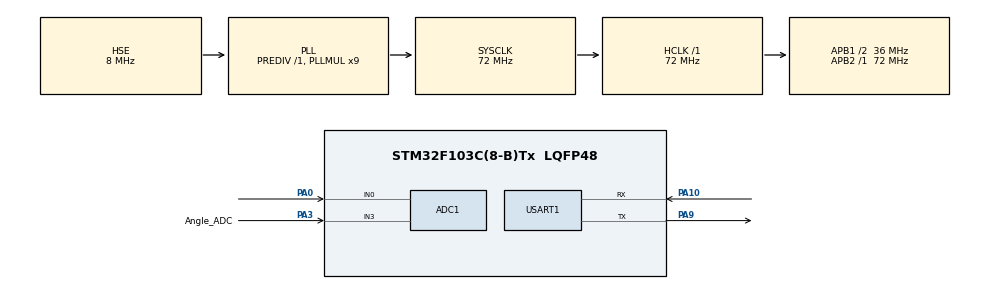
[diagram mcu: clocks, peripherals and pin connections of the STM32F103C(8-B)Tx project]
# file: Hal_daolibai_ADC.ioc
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ADC1.Channel-0\#ChannelRegularConversion=ADC_CHANNEL_0
ADC1.Channel-1\#ChannelRegularConversion=ADC_CHANNEL_3
ADC1.ContinuousConvMode=ENABLE
ADC1.DataAlign=ADC_DATAALIGN_RIGHT
ADC1.DiscontinuousConvMode=DISABLE
ADC1.EnableAnalogWatchDog=false
ADC1.EnableRegularConversion=ENABLE
ADC1.ExternalTrigConv=ADC_SOFTWARE_START
ADC1.InjNumberOfConversion=0
ADC1.NbrOfConversion=2
ADC1.NbrOfConversionFlag=1
ADC1.Rank-0\#ChannelRegularConversion=1
ADC1.Rank-1\#ChannelRegularConversion=2
ADC1.SamplingTime-0\#ChannelRegularConversion=ADC_SAMPLETIME_55CYCLES_5
ADC1.SamplingTime-1\#ChannelRegularConversion=ADC_SAMPLETIME_55CYCLES_5
ADC1.ScanConvMode=ADC_SCAN_ENABLE
ADC1.master=1
Dma.ADC1.0.Direction=DMA_PERIPH_TO_MEMORY
Dma.ADC1.0.Instance=DMA1_Channel1
Dma.ADC1.0.MemDataAlignment=DMA_MDATAALIGN_HALFWORD
Dma.ADC1.0.MemInc=DMA_MINC_ENABLE
Dma.ADC1.0.Mode=DMA_CIRCULAR
Dma.ADC1.0.PeriphDataAlignment=DMA_PDATAALIGN_HALFWORD
Dma.ADC1.0.PeriphInc=DMA_PINC_DISABLE
Dma.ADC1.0.Priority=DMA_PRIORITY_MEDIUM
Dma.Request0=ADC1
Mcu.Family=STM32F1
Mcu.Name=STM32F103C(8-B)Tx
Mcu.Package=LQFP48
NVIC.ADC1_2_IRQn=true\:2\:0\:true\:false\:true\:true
NVIC.DMA1_Channel1_IRQn=true\:0\:0\:false\:false\:true\:false
NVIC.PriorityGroup=NVIC_PRIORITYGROUP_4
NVIC.TIM1_UP_IRQn=true\:0\:0\:false\:false\:true\:true
PA0-WKUP.Signal=ADCx_IN0
PA10.Mode=Asynchronous
PA10.Signal=USART1_RX
PA13.Mode=Serial_Wire
PA13.Signal=SYS_JTMS-SWDIO
PA14.Mode=Serial_Wire
PA14.Signal=SYS_JTCK-SWCLK
PA3.GPIO_Label=Angle_ADC
PA3.Signal=ADCx_IN3
PA9.Mode=Asynchronous
PA9.Signal=USART1_TX
PD0-OSC_IN.Mode=HSE-External-Oscillator
PD0-OSC_IN.Signal=RCC_OSC_IN
PD1-OSC_OUT.Mode=HSE-External-Oscillator
PD1-OSC_OUT.Signal=RCC_OSC_OUT
ProjectManager.HeapSize=0x200
ProjectManager.StackSize=0x400
ProjectManager.TargetToolchain=MDK-ARM V5
RCC.ADCPresc=RCC_ADCPCLK2_DIV6
RCC.AHBFreq_Value=72000000
RCC.APB1CLKDivider=RCC_HCLK_DIV2
RCC.APB1Freq_Value=36000000
RCC.APB1TimFreq_Value=72000000
RCC.APB2Freq_Value=72000000
RCC.APB2TimFreq_Value=72000000
RCC.HCLKFreq_Value=72000000
RCC.PLLMUL=RCC_PLL_MUL9
RCC.PLLSourceVirtual=RCC_PLLSOURCE_HSE
RCC.SYSCLKFreq_VALUE=72000000
RCC.SYSCLKSource=RCC_SYSCLKSOURCE_PLLCLK
RCC.USBFreq_Value=72000000
SH.ADCx_IN0.0=ADC1_IN0,IN0
SH.ADCx_IN3.0=ADC1_IN3,IN3
TIM1.Period=5000
TIM1.Prescaler=71
USART1.VirtualMode=VM_ASYNC
VP_TIM1_VS_ClockSourceINT.Mode=Internal
board=custom

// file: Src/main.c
/**
  ******************************************************************************
  * @file           : main.c
  * @brief          : Main program body
  ******************************************************************************
  ** This notice applies to any and all portions of this file
  * that are not between comment pairs USER CODE BEGIN and
  * USER CODE END. Other portions of this file, whether
  * inserted by the user or by software development tools
  * are owned by their respective copyright owners.
  *
  * COPYRIGHT(c) 2019 STMicroelectronics
  *
  * Redistribution and use in source and binary forms, with or without modification,
  * are permitted provided that the following conditions are met:
  *   1. Redistributions of source code must retain the above copyright notice,
  *      this list of conditions and the following disclaimer.
  *   2. Redistributions in binary form must reproduce the above copyright notice,
  *      this list of conditions and the following disclaimer in the documentation
  *      and/or other materials provided with the distribution.
  *   3. Neither the name of STMicroelectronics nor the names of its contributors
  *      may be used to endorse or promote products derived from this software
  *      without specific prior written permission.
  *
  * THIS SOFTWARE IS PROVIDED BY THE COPYRIGHT HOLDERS AND CONTRIBUTORS "AS IS"
  * AND ANY EXPRESS OR IMPLIED WARRANTIES, INCLUDING, BUT NOT LIMITED TO, THE
  * IMPLIED WARRANTIES OF MERCHANTABILITY AND FITNESS FOR A PARTICULAR PURPOSE ARE
  * DISCLAIMED. IN NO EVENT SHALL THE COPYRIGHT HOLDER OR CONTRIBUTORS BE LIABLE
  * FOR ANY DIRECT, INDIRECT, INCIDENTAL, SPECIAL, EXEMPLARY, OR CONSEQUENTIAL
  * DAMAGES (INCLUDING, BUT NOT LIMITED TO, PROCUREMENT OF SUBSTITUTE GOODS OR
  * SERVICES; LOSS OF USE, DATA, OR PROFITS; OR BUSINESS INTERRUPTION) HOWEVER
  * CAUSED AND ON ANY THEORY OF LIABILITY, WHETHER IN CONTRACT, STRICT LIABILITY,
  * OR TORT (INCLUDING NEGLIGENCE OR OTHERWISE) ARISING IN ANY WAY OUT OF THE USE
  * OF THIS SOFTWARE, EVEN IF ADVISED OF THE POSSIBILITY OF SUCH DAMAGE.
  *
  ******************************************************************************
  */
#include "main.h"
#include "stm32f1xx_hal.h"
#include "adc.h"
#include "dma.h"
#include "tim.h"
#include "usart.h"
#include "gpio.h"

/* USER CODE BEGIN Includes */

#include "stdio.h"
#ifdef __GNUC__
#define PUTCHAR_PROTOTYPE int __io_putchar(int ch)
#else
#define PUTCHAR_PROTOTYPE int fputc(int ch, FILE *f)
#endif /* __GNUC__ */
PUTCHAR_PROTOTYPE
{
	HAL_UART_Transmit(&huart1 , (uint8_t *)&ch, 1, 0xFFFF);
	return ch;
}

/* USER CODE END Includes */

/* USER CODE BEGIN PV */
/* Private variables ---------------------------------------------------------*/
#define ADC_NUMOFCHANNEL                 2
__IO float ADC_ConvertedValueLocal[ADC_NUMOFCHANNEL];
// AD转换结果值
uint16_t ADC_ConvertedValue[ADC_NUMOFCHANNEL];
uint16_t DMA_Transfer_Complete_Count=0;
float Angle_Balance;
/* USER CODE END PV */

void SystemClock_Config(void);

/* USER CODE BEGIN PFP */
/* Private function prototypes -----------------------------------------------*/

/* USER CODE END PFP */

/* USER CODE BEGIN 0 */

/**************************************************************************
函数功能：AD采样
入口参数：ADC1 的通道
返回  值：AD转换结果
作    者：平衡小车之家
**************************************************************************/
u16 Get_Adc(u8 ch)
{
	//设置转换序列
	ADC1->SQR3&=0XFFFFFFE0;//规则序列1 通道ch
	ADC1->SQR3|=ch;
	ADC1->CR2|=1<<22;       //启动规则转换通道
	while(!(ADC1->SR&1<<1));//等待转换结束
	return ADC1->DR;		//返回adc值
}

void ADC_Delay(__IO uint32_t i){

	while(i--);
}

//获取通道ch的转换值，取times次,然后平均
//ch:通道编号
//times:获取次数
//返回值:通道ch的times次转换结果平均值
u16 Get_Adc_Average(u8 ch,u8 times)
{
	u32 temp_val=0;
	u8 t;
	for(t=0;t<times;t++)
	{
		temp_val+=Get_Adc(ch);
		ADC_Delay(200);
	}
	return temp_val/times;
}

/* USER CODE END 0 */

int main(void)
{

  /* MCU Configuration----------------------------------------------------------*/

  /* Reset of all peripherals, Initializes the Flash interface and the Systick. */
  HAL_Init();

  /* Configure the system clock */
  SystemClock_Config();

  /* Initialize all configured peripherals */
  MX_GPIO_Init();
  MX_DMA_Init();
  MX_USART1_UART_Init();
  MX_ADC1_Init();
  MX_TIM1_Init();
  /* USER CODE BEGIN 2 */
//	Angle_Adc_Init();
  HAL_ADCEx_Calibration_Start(&hadc1);
  HAL_ADC_Start_DMA(&hadc1,(uint32_t*)&ADC_ConvertedValue,ADC_NUMOFCHANNEL);
	printf("----这是一个ADC单通道电压采集实验-----\n");
  /* USER CODE END 2 */

  /* Infinite loop */
  while (1)
  {

  /* USER CODE BEGIN 3 */
			HAL_Delay(500);
    /* 3.3为AD转换的参考电压值，stm32的AD转换为12bit，2^12=4096，
       即当输入为3.3V时，AD转换结果为4096 */
    ADC_ConvertedValueLocal[0] =(float)(ADC_ConvertedValue[0]&0xFFF)*3.3/4096; // ADC_ConvertedValue[0]只取最低12有效数据
	  ADC_ConvertedValueLocal[1] =(float)(ADC_ConvertedValue[1]&0xFFF)*3.3/4096; // ADC_ConvertedValue[1]只取最低12有效数据
//    ADC_ConvertedValueLocal[2] =(float)(ADC_ConvertedValue[2]&0xFFF)*3.3/4096; // ADC_ConvertedValue[2]只取最低12有效数据
//    ADC_ConvertedValueLocal[3] =(float)(ADC_ConvertedValue[3]&0xFFF)*3.3/4096; // ADC_ConvertedValue[3]只取最低12有效数据

	  printf("CH1_PC0 value = %d -> %fV\r\n",ADC_ConvertedValue[0]&0xFFF,ADC_ConvertedValueLocal[0]);
    printf("CH2_PC1 value = %d -> %fV\r\n",ADC_ConvertedValue[1]&0xFFF,ADC_ConvertedValueLocal[1]);
//    printf("CH3_PC2 value = %d -> %fV\r\n",ADC_ConvertedValue[2]&0xFFF,ADC_ConvertedValueLocal[2]);
//    printf("CH4_PC3 value = %d -> %fV\r\n",ADC_ConvertedValue[3]&0xFFF,ADC_ConvertedValueLocal[3]);
		printf("\n");
		printf("\n");
  }
  /* USER CODE END 3 */

}

void SystemClock_Config(void)
{

  RCC_OscInitTypeDef RCC_OscInitStruct;
  RCC_ClkInitTypeDef RCC_ClkInitStruct;
  RCC_PeriphCLKInitTypeDef PeriphClkInit;

    /**Initializes the CPU, AHB and APB busses clocks
    */
  RCC_OscInitStruct.OscillatorType = RCC_OSCILLATORTYPE_HSE;
  RCC_OscInitStruct.HSEState = RCC_HSE_ON;
  RCC_OscInitStruct.HSEPredivValue = RCC_HSE_PREDIV_DIV1;
  RCC_OscInitStruct.HSIState = RCC_HSI_ON;
  RCC_OscInitStruct.PLL.PLLState = RCC_PLL_ON;
  RCC_OscInitStruct.PLL.PLLSource = RCC_PLLSOURCE_HSE;
  RCC_OscInitStruct.PLL.PLLMUL = RCC_PLL_MUL9;
  if (HAL_RCC_OscConfig(&RCC_OscInitStruct) != HAL_OK)
  {
    _Error_Handler(__FILE__, __LINE__);
  }

    /**Initializes the CPU, AHB and APB busses clocks
    */
  RCC_ClkInitStruct.ClockType = RCC_CLOCKTYPE_HCLK|RCC_CLOCKTYPE_SYSCLK
                              |RCC_CLOCKTYPE_PCLK1|RCC_CLOCKTYPE_PCLK2;
  RCC_ClkInitStruct.SYSCLKSource = RCC_SYSCLKSOURCE_PLLCLK;
  RCC_ClkInitStruct.AHBCLKDivider = RCC_SYSCLK_DIV1;
  RCC_ClkInitStruct.APB1CLKDivider = RCC_HCLK_DIV2;
  RCC_ClkInitStruct.APB2CLKDivider = RCC_HCLK_DIV1;

  if (HAL_RCC_ClockConfig(&RCC_ClkInitStruct, FLASH_LATENCY_2) != HAL_OK)
  {
    _Error_Handler(__FILE__, __LINE__);
  }

  PeriphClkInit.PeriphClockSelection = RCC_PERIPHCLK_ADC;
  PeriphClkInit.AdcClockSelection = RCC_ADCPCLK2_DIV6;
  if (HAL_RCCEx_PeriphCLKConfig(&PeriphClkInit) != HAL_OK)
  {
    _Error_Handler(__FILE__, __LINE__);
  }

    /**Configure the Systick interrupt time
    */
  HAL_SYSTICK_Config(HAL_RCC_GetHCLKFreq()/1000);

    /**Configure the Systick
    */
  HAL_SYSTICK_CLKSourceConfig(SYSTICK_CLKSOURCE_HCLK);

  /* SysTick_IRQn interrupt configuration */
  HAL_NVIC_SetPriority(SysTick_IRQn, 0, 0);
}

/* USER CODE BEGIN 4 */

///**
//  * 函数功能: AD转换结束回调函数
//  * 输入参数: hadc：AD设备类型句柄
//  * 返 回 值: 无
//  * 说    明: 无
//  */
//void HAL_ADC_ConvCpltCallback(ADC_HandleTypeDef* hadc)
//{
//  ADC_ConvertedValue=HAL_ADC_GetValue(&hadc1);
//}

/* USER CODE END 4 */

void _Error_Handler(char *file, int line)
{
  while(1)
  {
  }
}

/************************ (C) COPYRIGHT STMicroelectronics *****END OF FILE****/
